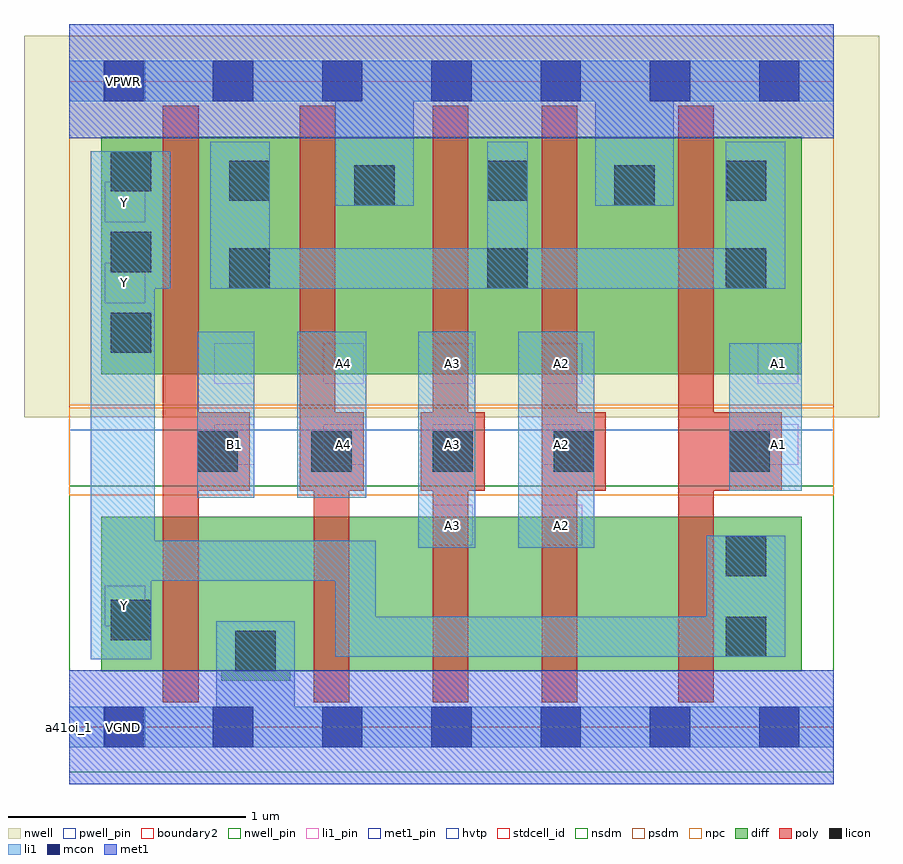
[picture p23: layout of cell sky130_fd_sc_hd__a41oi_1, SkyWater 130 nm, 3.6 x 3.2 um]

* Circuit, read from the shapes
.subckt sky130_fd_sc_hd__a41oi_1 A1 A2 A3 A4 B1 VGND VNB VPB VPWR Y
XM1 VGND B1 Y VNB sky130_fd_pr__nfet_01v8 w=0.65 l=0.15
XM2 n1 A4 VGND VNB sky130_fd_pr__nfet_01v8 w=0.65 l=0.15
XM3 n2 A3 n1 VNB sky130_fd_pr__nfet_01v8 w=0.65 l=0.15
XM4 n3 A2 n2 VNB sky130_fd_pr__nfet_01v8 w=0.65 l=0.15
XM5 Y A1 n3 VNB sky130_fd_pr__nfet_01v8 w=0.65 l=0.15
XM6 n4 B1 Y VPB sky130_fd_pr__pfet_01v8_hvt w=1 l=0.15
XM7 VPWR A4 n4 VPB sky130_fd_pr__pfet_01v8_hvt w=1 l=0.15
XM8 n4 A3 VPWR VPB sky130_fd_pr__pfet_01v8_hvt w=1 l=0.15
XM9 VPWR A2 n4 VPB sky130_fd_pr__pfet_01v8_hvt w=1 l=0.15
XM10 n4 A1 VPWR VPB sky130_fd_pr__pfet_01v8_hvt w=1 l=0.15
.ends

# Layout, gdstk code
import gdstk
lib = gdstk.Library(unit=1e-6, precision=1e-09)
def R(c, l, rs):  # rectangles x0, y0, x1, y1
    for r in rs: c.add(gdstk.rectangle(r[:2], r[2:], *l))
def A(c, l, x, y, w, h, nx, ny, dx, dy):  # array of equal rectangles
    R(c, l, [(x+i*dx, y+j*dy, x+i*dx+w, y+j*dy+h) for i in range(nx) for j in range(ny)])
def P(c, l, *ps):  # polygons
    for p in ps: c.add(gdstk.Polygon(p, *l))
nwell_pin = (64, 16)
nwell = (64, 20)
diff = (65, 20)
poly = (66, 20)
licon = (66, 44)
li1_pin = (67, 16)
li1 = (67, 20)
mcon = (67, 44)
met1_pin = (68, 16)
met1 = (68, 20)
hvtp = (78, 44)
stdcell_id = (81, 4)
nsdm = (93, 44)
psdm = (94, 20)
npc = (95, 20)
pwell_pin = (122, 16)
boundary2 = (236, 0)

sky130_fd_sc_hd__a41oi_1 = lib.new_cell('sky130_fd_sc_hd__a41oi_1')
R(sky130_fd_sc_hd__a41oi_1, nwell_pin, [(0.15,2.635,0.32,2.805)])
R(sky130_fd_sc_hd__a41oi_1, nwell, [(-0.19,1.305,3.41,2.91)])
R(sky130_fd_sc_hd__a41oi_1, diff, [(0.135,1.485,3.085,2.485)])
P(sky130_fd_sc_hd__a41oi_1, diff, [(0.64,0.195),(0.64,0.235),(0.135,0.235),(0.135,0.885),(3.085,0.885),(3.085,0.235),(0.93,0.235),(0.93,0.195)])
P(sky130_fd_sc_hd__a41oi_1, poly, [(2.565,0.105),(2.565,2.615),(2.715,2.615),(2.715,1.325),(3,1.325),(3,0.995),(2.715,0.995),(2.715,0.105)],
  [(1.99,0.105),(1.99,2.615),(2.14,2.615),(2.14,1.325),(2.26,1.325),(2.26,0.995),(2.14,0.995),(2.14,0.105)],
  [(1.53,0.105),(1.53,0.995),(1.48,0.995),(1.48,1.325),(1.53,1.325),(1.53,2.615),(1.68,2.615),(1.68,1.325),(1.75,1.325),(1.75,0.995),(1.68,0.995),(1.68,0.105)],
  [(1.03,0.105),(1.03,0.995),(0.97,0.995),(0.97,2.615),(1.12,2.615),(1.12,1.325),(1.24,1.325),(1.24,0.995),(1.18,0.995),(1.18,0.105)],
  [(0.395,0.105),(0.395,2.615),(0.545,2.615),(0.545,1.325),(0.76,1.325),(0.76,0.995),(0.545,0.995),(0.545,0.105)])
A(sky130_fd_sc_hd__a41oi_1, licon, 1.02, 1.075, 0.17, 0.17, 3, 1, 0.51, 0)
A(sky130_fd_sc_hd__a41oi_1, licon, 0.175, 1.575, 0.17, 0.17, 1, 3, 0, 0.34)
R(sky130_fd_sc_hd__a41oi_1, licon, [(0.7,0.235,0.87,0.405), (2.765,0.295,2.935,0.465), (0.175,0.365,0.345,0.535), (2.765,0.635,2.935,0.805), (0.54,1.075,0.71,1.245), (2.78,1.075,2.95,1.245), (0.675,1.845,0.845,2.015), (1.76,1.845,1.93,2.015), (2.765,1.845,2.935,2.015), (1.2,2.195,1.37,2.365), (2.295,2.195,2.465,2.365), (0.675,2.215,0.845,2.385), (1.76,2.215,1.93,2.385), (2.765,2.215,2.935,2.385)])
A(sky130_fd_sc_hd__a41oi_1, li1_pin, 0.61, 1.105, 0.17, 0.17, 4, 2, 0.46, 0.34)
R(sky130_fd_sc_hd__a41oi_1, li1_pin, [(0.15,0.425,0.32,0.595), (1.53,0.765,1.7,0.935), (1.99,0.765,2.16,0.935), (2.9,1.105,3.07,1.275), (0.61,1.445,0.78,1.615), (2.9,1.445,3.07,1.615), (0.15,1.785,0.32,1.955), (0.15,2.125,0.32,2.295)])
R(sky130_fd_sc_hd__a41oi_1, li1, [(1.47,0.755,1.71,1.665), (1.89,0.755,2.21,1.665), (0.54,0.965,0.78,1.665), (0.96,0.965,1.25,1.665), (2.78,0.995,3.085,1.615)])
P(sky130_fd_sc_hd__a41oi_1, li1, [(0.09,0.285),(0.09,2.425),(0.425,2.425),(0.425,1.845),(0.36,1.845),(0.36,0.785),(1.29,0.785),(1.29,0.465),(2.685,0.465),(2.685,0.805),(3.015,0.805),(3.015,0.295),(1.12,0.295),(1.12,0.615),(0.345,0.615),(0.345,0.285)],
  [(0.595,1.845),(0.595,2.465),(0.845,2.465),(0.845,2.015),(1.76,2.015),(1.76,2.465),(1.93,2.465),(1.93,2.015),(2.765,2.015),(2.765,2.465),(3.015,2.465),(3.015,1.845)],
  [(1.12,2.195),(1.12,2.635),(0,2.635),(0,2.805),(3.22,2.805),(3.22,2.635),(2.545,2.635),(2.545,2.195),(2.215,2.195),(2.215,2.635),(1.45,2.635),(1.45,2.195)],
  [(0,-0.085),(0,0.085),(0.62,0.085),(0.62,0.445),(0.95,0.445),(0.95,0.085),(3.22,0.085),(3.22,-0.085)])
A(sky130_fd_sc_hd__a41oi_1, mcon, 0.145, -0.085, 0.17, 0.17, 7, 2, 0.46, 2.72)
R(sky130_fd_sc_hd__a41oi_1, met1_pin, [(0.15,-0.085,0.32,0.085), (0.15,2.635,0.32,2.805)])
R(sky130_fd_sc_hd__a41oi_1, hvtp, [(0,1.25,3.22,2.72)])
R(sky130_fd_sc_hd__a41oi_1, stdcell_id, [(0,0,3.22,2.72)])
R(sky130_fd_sc_hd__a41oi_1, nsdm, [(0,-0.19,3.22,1.015)])
R(sky130_fd_sc_hd__a41oi_1, psdm, [(0,1.355,3.22,2.91)])
R(sky130_fd_sc_hd__a41oi_1, npc, [(0,0.975,3.22,1.345)])
R(sky130_fd_sc_hd__a41oi_1, pwell_pin, [(0.15,-0.085,0.32,0.085)])
R(sky130_fd_sc_hd__a41oi_1, boundary2, [(0,0,3.22,2.72)])
sky130_fd_sc_hd__a41oi_1.add(gdstk.FlexPath([(0,2.72),(3.22,2.72)], 0.48, ends="flush", simple_path=True, layer=68, datatype=20))  # met1
sky130_fd_sc_hd__a41oi_1.add(gdstk.FlexPath([(0,0),(3.22,0)], 0.48, ends="flush", simple_path=True, layer=68, datatype=20))  # met1
sky130_fd_sc_hd__a41oi_1.add(gdstk.Label('A4', (1.155,1.53), layer=67, texttype=5))
sky130_fd_sc_hd__a41oi_1.add(gdstk.Label('Y', (0.235,1.87), layer=67, texttype=5))
sky130_fd_sc_hd__a41oi_1.add(gdstk.Label('B1', (0.695,1.19), layer=67, texttype=5))
sky130_fd_sc_hd__a41oi_1.add(gdstk.Label('A1', (2.985,1.19), layer=67, texttype=5))
sky130_fd_sc_hd__a41oi_1.add(gdstk.Label('A2', (2.075,1.19), layer=67, texttype=5))
sky130_fd_sc_hd__a41oi_1.add(gdstk.Label('A2', (2.075,1.53), layer=67, texttype=5))
sky130_fd_sc_hd__a41oi_1.add(gdstk.Label('Y', (0.235,2.21), layer=67, texttype=5))
sky130_fd_sc_hd__a41oi_1.add(gdstk.Label('Y', (0.235,0.51), layer=67, texttype=5))
sky130_fd_sc_hd__a41oi_1.add(gdstk.Label('A3', (1.615,1.53), layer=67, texttype=5))
sky130_fd_sc_hd__a41oi_1.add(gdstk.Label('A2', (2.075,0.85), layer=67, texttype=5))
sky130_fd_sc_hd__a41oi_1.add(gdstk.Label('A3', (1.615,0.85), layer=67, texttype=5))
sky130_fd_sc_hd__a41oi_1.add(gdstk.Label('A4', (1.155,1.19), layer=67, texttype=5))
sky130_fd_sc_hd__a41oi_1.add(gdstk.Label('A3', (1.615,1.19), layer=67, texttype=5))
sky130_fd_sc_hd__a41oi_1.add(gdstk.Label('A1', (2.985,1.53), layer=67, texttype=5))
sky130_fd_sc_hd__a41oi_1.add(gdstk.Label('VGND', (0.23,0), layer=68, texttype=5))
sky130_fd_sc_hd__a41oi_1.add(gdstk.Label('VPWR', (0.23,2.72), layer=68, texttype=5))
sky130_fd_sc_hd__a41oi_1.add(gdstk.Label('VPB', (0.23,2.72), layer=64, texttype=5))
sky130_fd_sc_hd__a41oi_1.add(gdstk.Label('VNB', (0.23,0), layer=64, texttype=59))
sky130_fd_sc_hd__a41oi_1.add(gdstk.Label('a41oi_1', (0,0), layer=83, texttype=44))

lib.write_gds('sky130_fd_sc_hd__a41oi_1.gds')
